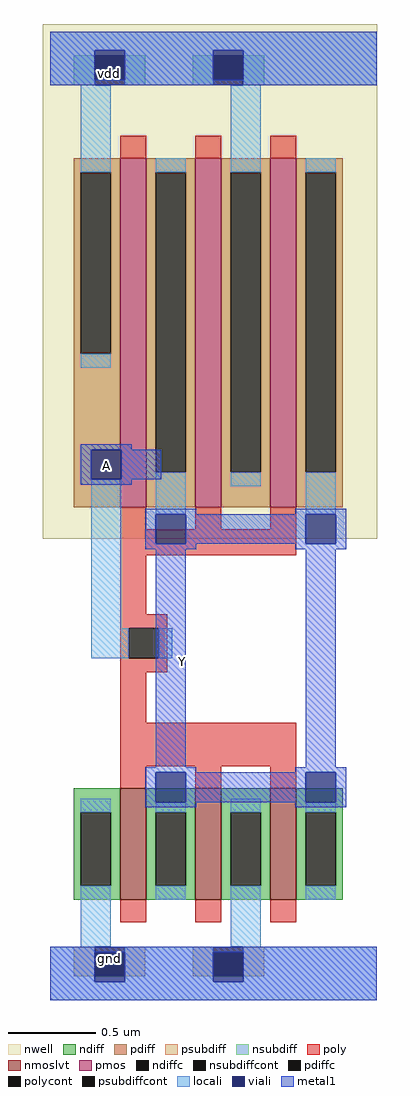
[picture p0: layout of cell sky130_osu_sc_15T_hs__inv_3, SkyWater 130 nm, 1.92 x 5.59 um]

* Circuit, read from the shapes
.subckt sky130_osu_sc_15T_hs__inv_3 Y A
XM1 Y A gnd gnd sky130_fd_pr__nfet_01v8_lvt w=0.64 l=0.15 m=3
XM2 Y A vdd vdd sky130_fd_pr__pfet_01v8 w=2 l=0.15 m=3
.ends

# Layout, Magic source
magic
tech sky130A
magscale 1 2
<< nwell >>
rect -9 529 375 1119
<< nmoslvt >>
rect 80 115 110 243
rect 166 115 196 243
rect 252 115 282 243
<< pmos >>
rect 80 565 110 965
rect 166 565 196 965
rect 252 565 282 965
<< ndiff >>
rect 27 215 80 243
rect 27 131 35 215
rect 69 131 80 215
rect 27 115 80 131
rect 110 215 166 243
rect 110 131 121 215
rect 155 131 166 215
rect 110 115 166 131
rect 196 215 252 243
rect 196 131 207 215
rect 241 131 252 215
rect 196 115 252 131
rect 282 215 335 243
rect 282 131 293 215
rect 327 131 335 215
rect 282 115 335 131
<< pdiff >>
rect 27 949 80 965
rect 27 741 35 949
rect 69 741 80 949
rect 27 565 80 741
rect 110 949 166 965
rect 110 605 121 949
rect 155 605 166 949
rect 110 565 166 605
rect 196 949 252 965
rect 196 605 207 949
rect 241 605 252 949
rect 196 565 252 605
rect 282 949 335 965
rect 282 605 293 949
rect 327 605 335 949
rect 282 565 335 605
<< ndiffc >>
rect 35 131 69 215
rect 121 131 155 215
rect 207 131 241 215
rect 293 131 327 215
<< pdiffc >>
rect 35 741 69 949
rect 121 605 155 949
rect 207 605 241 949
rect 293 605 327 949
<< psubdiff >>
rect 27 27 51 61
rect 85 27 109 61
rect 163 27 187 61
rect 221 27 245 61
<< nsubdiff >>
rect 27 1049 51 1083
rect 85 1049 109 1083
rect 163 1049 187 1083
rect 221 1049 245 1083
<< psubdiffcont >>
rect 51 27 85 61
rect 187 27 221 61
<< nsubdiffcont >>
rect 51 1049 85 1083
rect 187 1049 221 1083
<< poly >>
rect 80 965 110 991
rect 166 965 196 991
rect 252 965 282 991
rect 80 540 110 565
rect 166 540 196 565
rect 252 540 282 565
rect 80 510 282 540
rect 80 442 110 510
rect 80 426 134 442
rect 80 392 90 426
rect 124 392 134 426
rect 80 376 134 392
rect 80 318 110 376
rect 80 268 282 318
rect 80 243 110 268
rect 166 243 196 268
rect 252 243 282 268
rect 80 89 110 115
rect 166 89 196 115
rect 252 89 282 115
<< polycont >>
rect 90 392 124 426
<< locali >>
rect 0 1089 374 1110
rect 0 1049 51 1089
rect 85 1049 187 1089
rect 221 1049 374 1089
rect 35 949 69 1049
rect 35 725 69 741
rect 121 949 155 965
rect 47 426 81 597
rect 121 557 155 605
rect 207 949 241 1049
rect 207 589 241 605
rect 293 949 327 965
rect 293 557 327 605
rect 47 392 90 426
rect 124 392 140 426
rect 35 215 69 231
rect 35 61 69 131
rect 121 215 155 227
rect 121 115 155 131
rect 207 215 241 231
rect 207 61 241 131
rect 293 215 327 227
rect 293 115 327 131
rect 0 21 51 61
rect 85 21 187 61
rect 221 21 374 61
rect 0 0 374 21
<< viali >>
rect 51 1083 85 1089
rect 51 1055 85 1083
rect 187 1083 221 1089
rect 187 1055 221 1083
rect 47 597 81 631
rect 121 523 155 557
rect 293 523 327 557
rect 121 227 155 261
rect 293 227 327 261
rect 51 27 85 55
rect 51 21 85 27
rect 187 27 221 55
rect 187 21 221 27
<< metal1 >>
rect 0 1089 374 1110
rect 0 1055 51 1089
rect 85 1055 187 1089
rect 221 1055 374 1089
rect 0 1049 374 1055
rect 35 631 93 637
rect 35 597 47 631
rect 81 597 127 631
rect 35 591 93 597
rect 109 557 167 563
rect 281 557 339 563
rect 109 523 121 557
rect 155 523 293 557
rect 327 523 339 557
rect 109 517 167 523
rect 281 517 339 523
rect 121 267 155 517
rect 293 267 327 517
rect 109 261 167 267
rect 281 261 339 267
rect 109 227 121 261
rect 155 227 293 261
rect 327 227 339 261
rect 109 221 167 227
rect 281 221 339 227
rect 0 55 374 61
rect 0 21 51 55
rect 85 21 187 55
rect 221 21 374 55
rect 0 0 374 21
<< labels >>
rlabel metal1 152 388 152 388 1 Y
port 1 n
rlabel viali 64 613 64 613 1 A
port 2 n
rlabel viali 68 48 68 48 1 gnd
rlabel viali 68 1062 68 1062 1 vdd
<< end >>
